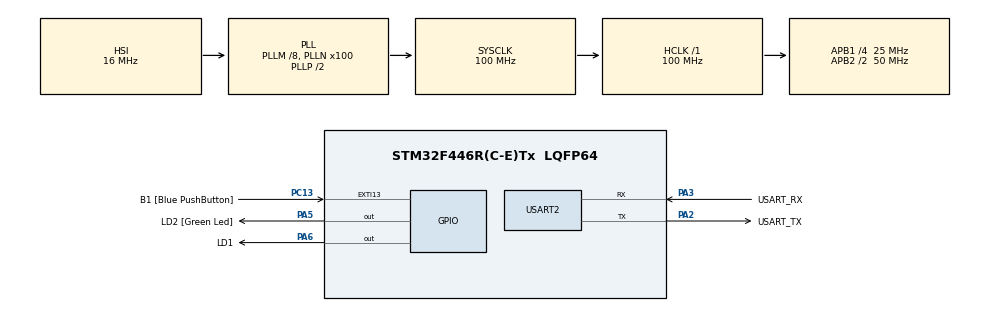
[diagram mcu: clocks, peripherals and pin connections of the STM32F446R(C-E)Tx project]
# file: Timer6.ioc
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Mcu.Family=STM32F4
Mcu.Name=STM32F446R(C-E)Tx
Mcu.Package=LQFP64
NVIC.PriorityGroup=NVIC_PRIORITYGROUP_0
NVIC.TIM6_DAC_IRQn=true\:0\:0\:false\:false\:true\:true\:true
PA13.GPIO_Label=TMS
PA13.Mode=Serial_Wire
PA13.Signal=SYS_JTMS-SWDIO
PA14.GPIO_Label=TCK
PA14.Mode=Serial_Wire
PA14.Signal=SYS_JTCK-SWCLK
PA2.GPIO_Label=USART_TX
PA2.Mode=Asynchronous
PA2.Signal=USART2_TX
PA3.GPIO_Label=USART_RX
PA3.Mode=Asynchronous
PA3.Signal=USART2_RX
PA5.GPIO_Label=LD2 [Green Led]
PA5.Signal=GPIO_Output
PA6.GPIO_Label=LD1
PA6.Signal=GPIO_Output
PB3.GPIO_Label=SWO
PB3.Signal=SYS_JTDO-SWO
PC13.GPIO_Label=B1 [Blue PushButton]
PC13.GPIO_ModeDefaultEXTI=GPIO_MODE_IT_FALLING
PC13.Signal=GPXTI13
PC14-OSC32_IN.Mode=LSE-External-Oscillator
PC14-OSC32_IN.Signal=RCC_OSC32_IN
PC15-OSC32_OUT.Mode=LSE-External-Oscillator
PC15-OSC32_OUT.Signal=RCC_OSC32_OUT
PH0-OSC_IN.Mode=HSE-External-Oscillator
PH0-OSC_IN.Signal=RCC_OSC_IN
PH1-OSC_OUT.Mode=HSE-External-Oscillator
PH1-OSC_OUT.Signal=RCC_OSC_OUT
ProjectManager.HeapSize=0x200
ProjectManager.StackSize=0x400
ProjectManager.TargetToolchain=SW4STM32
RCC.48MHZClocksFreq_Value=84000000
RCC.AHBFreq_Value=100000000
RCC.APB1CLKDivider=RCC_HCLK_DIV4
RCC.APB1Freq_Value=25000000
RCC.APB1TimFreq_Value=50000000
RCC.APB2CLKDivider=RCC_HCLK_DIV2
RCC.APB2Freq_Value=50000000
RCC.APB2TimFreq_Value=100000000
RCC.CortexFreq_Value=100000000
RCC.FLatency-AdvancedSettings=FLASH_LATENCY_3
RCC.HCLKFreq_Value=100000000
RCC.HSE_VALUE=8000000
RCC.HSI_VALUE=16000000
RCC.PLLM=8
RCC.PLLN=100
RCC.SYSCLKFreq_VALUE=100000000
RCC.SYSCLKSource=RCC_SYSCLKSOURCE_PLLCLK
RCC.USBFreq_Value=100000000
RCC.VCOOutputFreq_Value=200000000
TIM6.AutoReloadPreload=TIM_AUTORELOAD_PRELOAD_DISABLE
TIM6.Period=999
TIM6.Prescaler=4999
USART2.VirtualMode=VM_ASYNC
VP_TIM6_VS_ClockSourceINT.Mode=Enable_Timer
board=NUCLEO-F446RE

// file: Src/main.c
/* USER CODE BEGIN Header */
/**
  ******************************************************************************
  * @file           : main.c
  * @brief          : Main program body
  ******************************************************************************
  * @attention
  *
  * <h2><center>&copy; Copyright (c) 2020 STMicroelectronics.
  * All rights reserved.</center></h2>
  *
  * This software component is licensed by ST under BSD 3-Clause license,
  * the "License"; You may not use this file except in compliance with the
  * License. You may obtain a copy of the License at:
  *                        opensource.org/licenses/BSD-3-Clause
  *
  ******************************************************************************
  */
/* USER CODE END Header */

#include "main.h"
#include "tim.h"
#include "usart.h"
#include "gpio.h"

/* USER CODE BEGIN PV */

volatile int zaehler=0;
volatile int zaehler2=0;
int sek = 0;

/* USER CODE END PV */

void SystemClock_Config(void);

int main(void)
{
  /* USER CODE BEGIN 1 */
	int minuten=0 , stunden=0;
  /* USER CODE END 1 */

  /* MCU Configuration--------------------------------------------------------*/

  /* Reset of all peripherals, Initializes the Flash interface and the Systick. */
  HAL_Init();

  /* Configure the system clock */
  SystemClock_Config();

  /* Initialize all configured peripherals */
  MX_GPIO_Init();
  MX_USART2_UART_Init();
  MX_TIM6_Init();
  /* USER CODE BEGIN 2 */
  HAL_TIM_Base_Start_IT(&htim6);

  int flag=0;

  void flashlight(int a){
	  HAL_GPIO_WritePin(LD2_GPIO_Port,LD2_Pin,SET);
	  if(zaehler == a){
		  HAL_GPIO_WritePin(LD2_GPIO_Port,LD2_Pin,RESET);
		  flag = 0;
	  }
  }

  /* USER CODE END 2 */

  /* Infinite loop */
  while (1)
  {

    /* USER CODE BEGIN 3 */
	  if(zaehler >= 10){
		  sek = zaehler;
		  zaehler = 0;
		  flag = 1;
		  /*HAL_GPIO_TogglePin(LD2_GPIO_Port,LD2_Pin);*/
	  }
	  if(sek >= 60){
		  sek = 0;
		  minuten++;
	  }
	  if(minuten >= 60){
		  minuten = 0;
		  stunden++;
	  }
	  if(stunden >= 24){
		  stunden = 0;
	  }
	  if(flag == 1){
		  int a = 3;
		  flashlight(a);
	  }
  }
  /* USER CODE END 3 */
}

void SystemClock_Config(void)
{
  RCC_OscInitTypeDef RCC_OscInitStruct = {0};
  RCC_ClkInitTypeDef RCC_ClkInitStruct = {0};

  /** Configure the main internal regulator output voltage
  */
  __HAL_RCC_PWR_CLK_ENABLE();
  __HAL_PWR_VOLTAGESCALING_CONFIG(PWR_REGULATOR_VOLTAGE_SCALE3);
  /** Initializes the CPU, AHB and APB busses clocks
  */
  RCC_OscInitStruct.OscillatorType = RCC_OSCILLATORTYPE_HSI;
  RCC_OscInitStruct.HSIState = RCC_HSI_ON;
  RCC_OscInitStruct.HSICalibrationValue = RCC_HSICALIBRATION_DEFAULT;
  RCC_OscInitStruct.PLL.PLLState = RCC_PLL_ON;
  RCC_OscInitStruct.PLL.PLLSource = RCC_PLLSOURCE_HSI;
  RCC_OscInitStruct.PLL.PLLM = 8;
  RCC_OscInitStruct.PLL.PLLN = 100;
  RCC_OscInitStruct.PLL.PLLP = RCC_PLLP_DIV2;
  RCC_OscInitStruct.PLL.PLLQ = 2;
  RCC_OscInitStruct.PLL.PLLR = 2;
  if (HAL_RCC_OscConfig(&RCC_OscInitStruct) != HAL_OK)
  {
    Error_Handler();
  }
  /** Initializes the CPU, AHB and APB busses clocks
  */
  RCC_ClkInitStruct.ClockType = RCC_CLOCKTYPE_HCLK|RCC_CLOCKTYPE_SYSCLK
                              |RCC_CLOCKTYPE_PCLK1|RCC_CLOCKTYPE_PCLK2;
  RCC_ClkInitStruct.SYSCLKSource = RCC_SYSCLKSOURCE_PLLCLK;
  RCC_ClkInitStruct.AHBCLKDivider = RCC_SYSCLK_DIV1;
  RCC_ClkInitStruct.APB1CLKDivider = RCC_HCLK_DIV4;
  RCC_ClkInitStruct.APB2CLKDivider = RCC_HCLK_DIV2;

  if (HAL_RCC_ClockConfig(&RCC_ClkInitStruct, FLASH_LATENCY_3) != HAL_OK)
  {
    Error_Handler();
  }
}

void Error_Handler(void)
{
}

/************************ (C) COPYRIGHT STMicroelectronics *****END OF FILE****/
